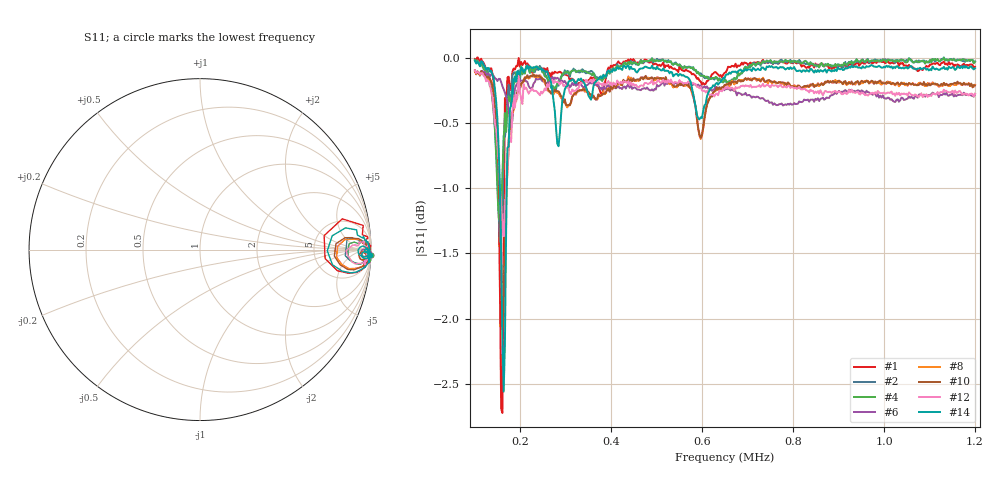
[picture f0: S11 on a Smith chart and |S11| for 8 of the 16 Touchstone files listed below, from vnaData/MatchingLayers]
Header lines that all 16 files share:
!Agilent Technologies,E5071C,MY46100265,A.07.02
!Data & Calibration Information:
!Freq	S11:SOLT1(ON)
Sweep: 100 kHz to 1.2 MHz
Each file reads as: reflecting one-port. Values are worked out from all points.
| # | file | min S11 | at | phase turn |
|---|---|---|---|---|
| 1 | 2ML3_3.S1P | -2.7 dB | 160.3 kHz | -3 deg |
| 2 | ML2_1.S1P | -1.4 dB | 154.9 kHz | -2 deg |
| 3 | ML2_2.S1P | -1.5 dB | 154.9 kHz | -2 deg |
| 4 | ML2_3.S1P | -1.3 dB | 154.9 kHz | -2 deg |
| 5 | ML3_1.S1P | -0.6 dB | 179.6 kHz | -5 deg |
| 6 | ML3_2.S1P | -0.5 dB | 179.6 kHz | -5 deg |
| 7 | ML3_3.S1P | -0.5 dB | 179.6 kHz | -5 deg |
| 8 | ML5_1.S1P | -1.9 dB | 160.3 kHz | -3 deg |
| 9 | ML5_2.S1P | -2.0 dB | 163.1 kHz | -3 deg |
| 10 | ML5_3.S1P | -2.1 dB | 160.3 kHz | -3 deg |
| 11 | MLCURED1_1.S1P | -1.4 dB | 160.3 kHz | -3 deg |
| 12 | MLCURED1_2.S1P | -1.4 dB | 163.1 kHz | -3 deg |
| 13 | MLCURED1_3.S1P | -1.3 dB | 163.1 kHz | -3 deg |
| 14 | NML_1.S1P | -2.6 dB | 163.1 kHz | -2 deg |
| 15 | NML_2.S1P | -2.6 dB | 163.1 kHz | -2 deg |
| 16 | NML_3.S1P | -2.6 dB | 163.1 kHz | -2 deg |
